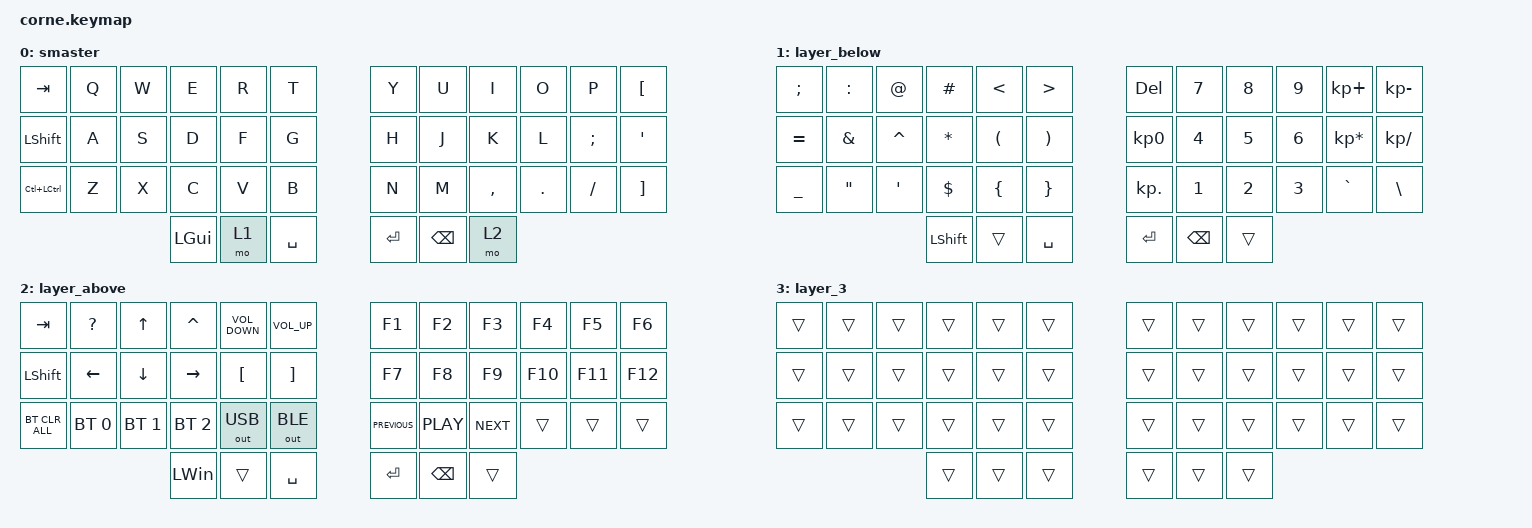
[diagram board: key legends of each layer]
/*
 * Copyright (c) 2020 The ZMK Contributors
 *
 * SPDX-License-Identifier: MIT
 */

#include <behaviors.dtsi>
#include <dt-bindings/zmk/bt.h>
#include <dt-bindings/zmk/keys.h>
#include <dt-bindings/zmk/outputs.h>

/ {
    behaviors {
        tp: tap_preferred {
            compatible = "zmk,behavior-hold-tap";
            label = "TAP_PREFERRED";
            #binding-cells = <2>;
            tapping-term-ms = <150>;
            quick-tap-ms = <0>;
            flavor = "tap-preferred";
            bindings = <&kp>, <&kp>;
        };
    };

    combos {
        compatible = "zmk,combos";

        cp {
            bindings = <&kp CLCK>;
            key-positions = <40 37>;
        };

        ALT {
            bindings = <&kp LEFT_ALT>;
            key-positions = <34 35>;
        };

        Esc {
            bindings = <&kp ESC>;
            key-positions = <0 1>;
        };
    };

    keymap {
        compatible = "zmk,keymap";

        smaster {
            // -----------------------------------------------------------------------------------------
            // | TAB  |  Q  |  W  |  E  |  R  |    T    |   |  Y  |  U   |  I  |  O  |  P  | ESC |
            // | CTRL |  A  |  S  |  D  |  F  |    G    |   |  H  |  J   |  K  |  L  |  ;  |  LWR/'   |
            // | SHFT |  Z  |  X  |  C  |  V  |    B    |   |  N  |  M   |  ,  |  .  |  /  | SHFT |
            //                    | GUI | LWR | ALT/ENT |   | HYPER/SPC | BKSP  | RSE |

            bindings = <
&kp TAB               &kp Q  &kp W  &kp E     &kp R  &kp T        &kp Y      &kp U     &kp I      &kp O    &kp P     &kp LEFT_BRACKET
&kp LSHFT             &kp A  &kp S  &kp D     &kp F  &kp G        &kp H      &kp J     &kp K      &kp L    &kp SEMI  &kp SQT
&kp LC(LEFT_CONTROL)  &kp Z  &kp X  &kp C     &kp V  &kp B        &kp N      &kp M     &kp COMMA  &kp DOT  &kp FSLH  &kp RIGHT_BRACKET
                                    &kp LGUI  &mo 1  &kp SPACE    &kp ENTER  &kp BSPC  &mo 2
            >;
        };

        layer_below {
            // -----------------------------------------------------------------------------------------
            // |      |  !  |  @  |  #  |  $  |    %     |   |  ^  |  &  |  *  |  (  |  )  |   \   |
            // |      |  1  |  2  |  3  |  4  |    5     |   |  -  |  =  |  `  |  [  |  ]  |  "|"  |
            // | SHFT |  6  |  7  |  8  |  9  |    0     |   |  _  |  +  |  ~  |  {  |  }  | RSHFT |
            //                     | GUI |     | ALT/ENT |   | HYPER/SPACE | BKSP |    |

            bindings = <
&kp SEMICOLON   &kp COLON          &kp AT_SIGN  &kp HASH        &kp LESS_THAN         &kp GREATER_THAN         &kp DEL          &kp N7        &kp N8        &kp N9        &kp KP_PLUS      &kp KP_MINUS
&kp EQUAL       &kp AMPERSAND      &kp CARET    &kp ASTERISK    &kp LEFT_PARENTHESIS  &kp RIGHT_PARENTHESIS    &kp KP_NUMBER_0  &kp NUMBER_4  &kp N5        &kp NUMBER_6  &kp KP_MULTIPLY  &kp KP_DIVIDE
&kp UNDERSCORE  &kp DOUBLE_QUOTES  &kp SQT      &kp DOLLAR      &kp LEFT_BRACE        &kp RIGHT_BRACE          &kp KP_DOT       &kp NUMBER_1  &kp NUMBER_2  &kp NUMBER_3  &kp GRAVE        &kp BACKSLASH
                                                &kp LEFT_SHIFT  &trans                &kp SPACE                &kp RET          &kp BSPC      &trans
            >;
        };

        layer_above {
            // -----------------------------------------------------------------------------------------
            // |       |  F1  |  F2  |  F3  |  F4  |  F5 |            |  F6  |  F7  |  F8  |  F9  |  F10  |   |
            // |       | Prev | Next | Vol - | Vol + | Play/Pause |   |      | LFT | DWN |  UP | RGT |     |     |
            // | BTCLR | BT1 | BT2 | BT3 | BT4 | BT5 |   |            |     |     |     |     |     |     |
            //                    |     |     |    |                  |     |     |     |

            bindings = <
&kp TAB         &kp QUESTION    &kp UP_ARROW    &kp CARET        &kp C_VOLUME_DOWN  &kp C_VOLUME_UP      &kp F1          &kp F2         &kp F3      &kp F4   &kp F5   &kp F6
&kp LEFT_SHIFT  &kp LEFT_ARROW  &kp DOWN_ARROW  &kp RIGHT_ARROW  &kp LEFT_BRACKET   &kp RIGHT_BRACKET    &kp F7          &kp F8         &kp F9      &kp F10  &kp F11  &kp F12
&bt BT_CLR_ALL  &bt BT_SEL 0    &bt BT_SEL 1    &bt BT_SEL 2     &out OUT_USB       &out OUT_BLE         &kp C_PREVIOUS  &kp C_PLAY     &kp C_NEXT  &trans   &trans   &trans
                                                &kp LEFT_WIN     &trans             &kp SPACE            &kp ENTER       &kp BACKSPACE  &trans
            >;
        };

        layer_3 {
            bindings = <
&trans  &trans  &trans  &trans  &trans  &trans    &trans  &trans  &trans  &trans  &trans  &trans
&trans  &trans  &trans  &trans  &trans  &trans    &trans  &trans  &trans  &trans  &trans  &trans
&trans  &trans  &trans  &trans  &trans  &trans    &trans  &trans  &trans  &trans  &trans  &trans
                        &trans  &trans  &trans    &trans  &trans  &trans
            >;
        };
    };
};
